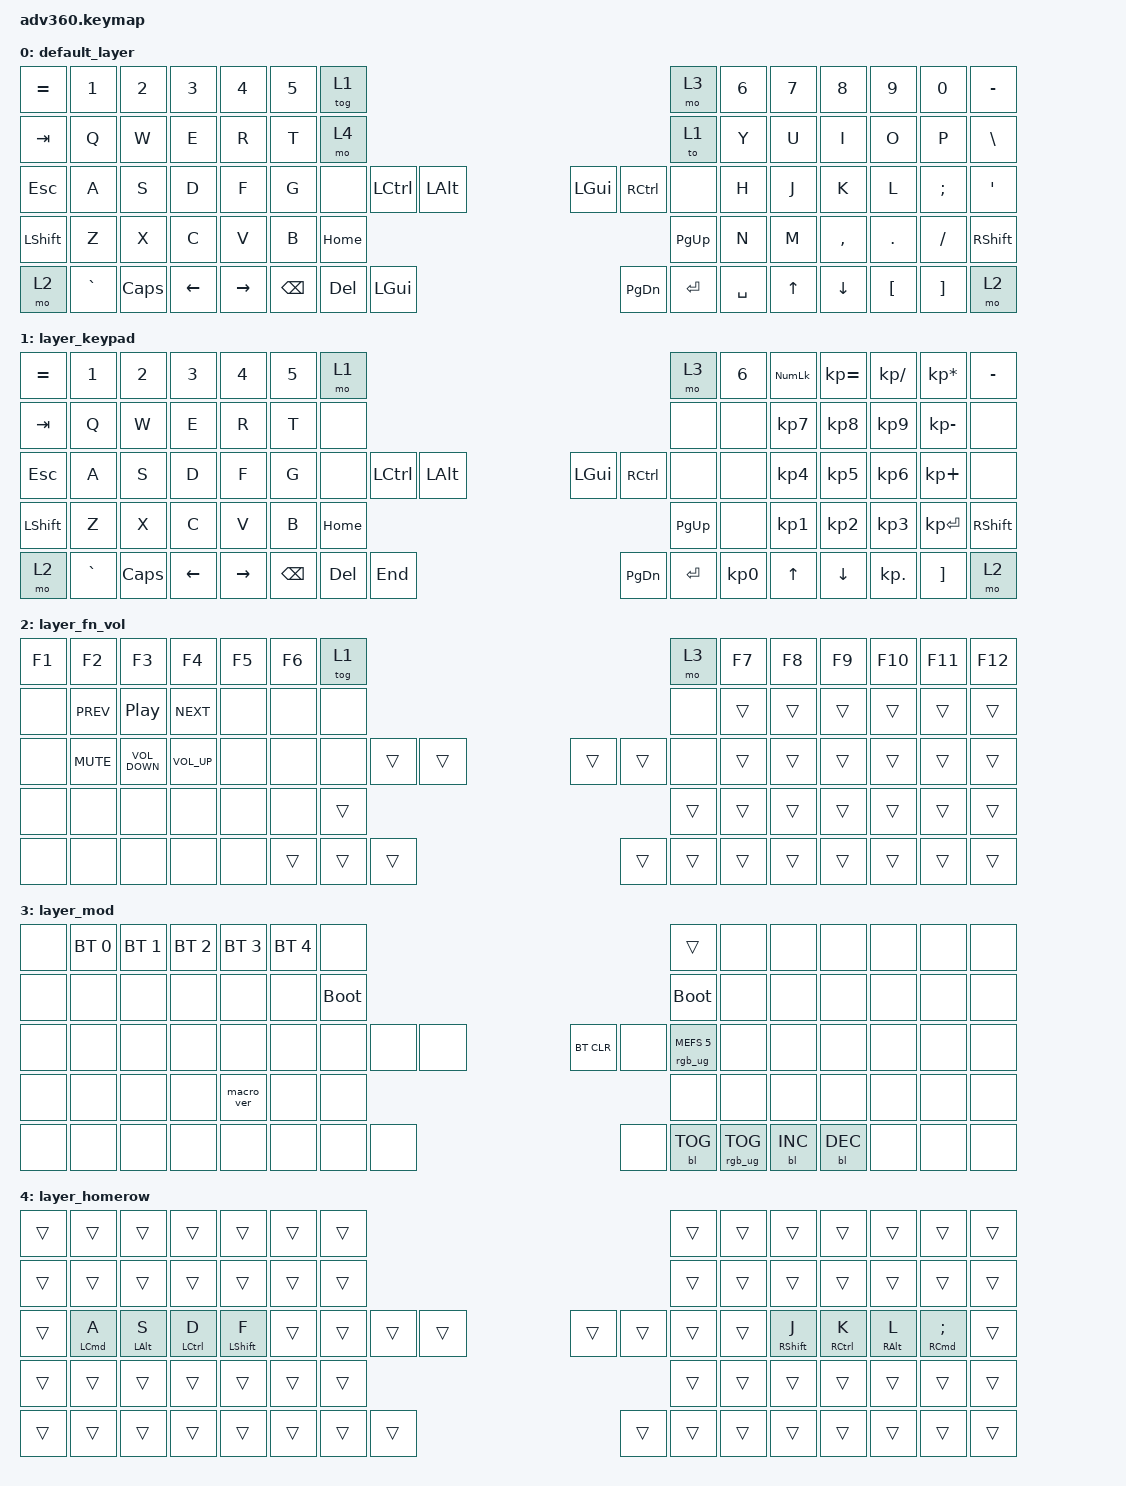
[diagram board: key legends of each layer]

/*
 * Copyright (c) 2020 The ZMK Contributors
 *
 * SPDX-License-Identifier: MIT
 */


/* THIS FILE WAS GENERATED!
 *
 * This file was generated automatically. You may or may not want to
 * edit it directly.
 */

#include <behaviors.dtsi>
#include <dt-bindings/zmk/keys.h>
#include <dt-bindings/zmk/bt.h>
#include <dt-bindings/zmk/rgb.h>
#include <dt-bindings/zmk/stp.h>
#include <dt-bindings/zmk/backlight.h>
#include <dt-bindings/zmk/pointing.h>

/ {
    behaviors {
      #include "macros.dtsi"
      #include "version.dtsi"

      hml: homerow_mod_left {
          compatible = "zmk,behavior-hold-tap";
          label = "HOMEROW_MOD_LEFT";
          #binding-cells = <2>;
          tapping-term-ms = <280>;
          quick_tap_ms = <175>;
          require-prior-idle-ms = <150>;
          flavor = "balanced";
          bindings = <&kp>, <&kp>;
          hold-trigger-key-positions = <
            7  8  9 10 11 12 13
            21 22 23 24 25 26 27
            39 40 41 42 43 44 45
               54 55 56 57 58 59
                  71 72 73 74 75
            37 38 53 68 69 70
          >;
          hold-trigger-on-release;
      };

      hmr: homerow_mod_right {
          compatible = "zmk,behavior-hold-tap";
          label = "HOMEROW_MOD_RIGHT";
          #binding-cells = <2>;
          tapping-term-ms = <280>;
          quick_tap_ms = <175>;
          require-prior-idle-ms = <150>;
          flavor = "balanced";
          bindings = <&kp>, <&kp>;
          hold-trigger-key-positions = <
             0  1  2  3  4  5  6
            14 15 16 17 18 19 20
            28 29 30 31 32 33 34
            46 47 48 49 50 51
            60 61 62 63 64
            35 36 52 65 66 67
          >;
          hold-trigger-on-release;
      };
    };

    keymap {
        compatible = "zmk,keymap";

        default_layer {
            bindings = <
 &kp EQUAL     &kp N1    &kp N2    &kp N3     &kp N4  &kp N5              &tog 1                                                                 &mo 3  &kp N6  &kp N7     &kp N8    &kp N9    &kp N0  &kp MINUS
   &kp TAB      &kp Q     &kp W     &kp E      &kp R   &kp T               &mo 4                                                                 &to 1   &kp Y   &kp U      &kp I     &kp O     &kp P   &kp BSLH
   &kp ESC      &kp A     &kp S     &kp D      &kp F   &kp G               &none  &kp LCTRL  &kp LALT                   &kp LGUI  &kp RCTRL      &none   &kp H   &kp J      &kp K     &kp L  &kp SEMI    &kp SQT
 &kp LSHFT      &kp Z     &kp X     &kp C      &kp V   &kp B                                 &kp HOME                  &kp PG_UP                         &kp N   &kp M  &kp COMMA   &kp DOT  &kp FSLH  &kp RSHFT
     &mo 2  &kp GRAVE  &kp CAPS  &kp LEFT  &kp RIGHT                    &kp BSPC    &kp DEL  &kp LGUI                  &kp PG_DN  &kp ENTER  &kp SPACE          &kp UP   &kp DOWN  &kp LBKT  &kp RBKT      &mo 2
            >;
        };

        layer_keypad {
            bindings = <
 &kp EQUAL     &kp N1    &kp N2    &kp N3     &kp N4  &kp N5               &mo 1                                                                 &mo 3  &kp N6  &kp KP_NUM  &kp KP_EQUAL  &kp KP_DIVIDE  &kp KP_MULTIPLY  &kp MINUS
   &kp TAB      &kp Q     &kp W     &kp E      &kp R   &kp T               &none                                                                 &none   &none   &kp KP_N7     &kp KP_N8      &kp KP_N9     &kp KP_MINUS      &none
   &kp ESC      &kp A     &kp S     &kp D      &kp F   &kp G               &none  &kp LCTRL  &kp LALT                   &kp LGUI  &kp RCTRL      &none   &none   &kp KP_N4     &kp KP_N5      &kp KP_N6      &kp KP_PLUS      &none
 &kp LSHFT      &kp Z     &kp X     &kp C      &kp V   &kp B                                 &kp HOME                  &kp PG_UP                         &none   &kp KP_N1     &kp KP_N2      &kp KP_N3     &kp KP_ENTER  &kp RSHFT
     &mo 2  &kp GRAVE  &kp CAPS  &kp LEFT  &kp RIGHT                    &kp BSPC    &kp DEL   &kp END                  &kp PG_DN  &kp ENTER  &kp KP_N0              &kp UP      &kp DOWN     &kp KP_DOT         &kp RBKT      &mo 2
            >;
        };

        layer_fn_vol {
            bindings = <
 &kp F1      &kp F2             &kp F3        &kp F4  &kp F5  &kp F6            &tog 1                                                   &mo 3  &kp F7  &kp F8  &kp F9  &kp F10  &kp F11  &kp F12
  &none  &kp C_PREV   &kp C_PLAY_PAUSE    &kp C_NEXT   &none   &none             &none                                                   &none  &trans  &trans  &trans   &trans   &trans   &trans
  &none  &kp C_MUTE  &kp C_VOLUME_DOWN  &kp C_VOL_UP   &none   &none             &none  &trans  &trans                  &trans  &trans   &none  &trans  &trans  &trans   &trans   &trans   &trans
  &none       &none              &none         &none   &none   &none                            &trans                  &trans                  &trans  &trans  &trans   &trans   &trans   &trans
  &none       &none              &none         &none   &none                    &trans  &trans  &trans                  &trans  &trans  &trans          &trans  &trans   &trans   &trans   &trans
            >;
        };

        layer_mod {
            bindings = <
  &none  &bt BT_SEL 0  &bt BT_SEL 1  &bt BT_SEL 2  &bt BT_SEL 3  &bt BT_SEL 4                  &none                                                                          &trans   &none       &none       &none   &none   &none   &none
  &none         &none         &none         &none         &none         &none            &bootloader                                                                     &bootloader   &none       &none       &none   &none   &none   &none
  &none         &none         &none         &none         &none         &none                  &none   &none   &none                  &bt BT_CLR       &none  &rgb_ug RGB_MEFS_CMD 5   &none       &none       &none   &none   &none   &none
  &none         &none         &none         &none    &macro_ver         &none                                  &none                       &none                                       &none       &none       &none   &none   &none   &none
  &none         &none         &none         &none         &none                                &none   &none   &none                       &none  &bl BL_TOG         &rgb_ug RGB_TOG          &bl BL_INC  &bl BL_DEC   &none   &none   &none
            >;
        };

        layer_homerow {
            bindings = <
 &trans       &trans            &trans          &trans      &trans  &trans            &trans                                                  &trans  &trans      &trans           &trans             &trans               &trans  &trans
 &trans       &trans            &trans          &trans      &trans  &trans            &trans                                                  &trans  &trans      &trans           &trans             &trans               &trans  &trans
 &trans  &hml LCMD A  &hml LALT S  &hml LCTRL D  &hml LSHIFT F  &trans            &trans  &trans  &trans                  &trans  &trans  &trans  &trans  &hmr RSHIFT J  &hmr RCTRL K  &hmr RALT L  &hmr RCMD SEMICOLON  &trans
 &trans       &trans            &trans          &trans      &trans  &trans                            &trans                  &trans                  &trans      &trans           &trans             &trans               &trans  &trans
 &trans       &trans            &trans          &trans      &trans                    &trans  &trans  &trans                  &trans  &trans  &trans              &trans           &trans             &trans               &trans  &trans
            >;
        };

    };
};
